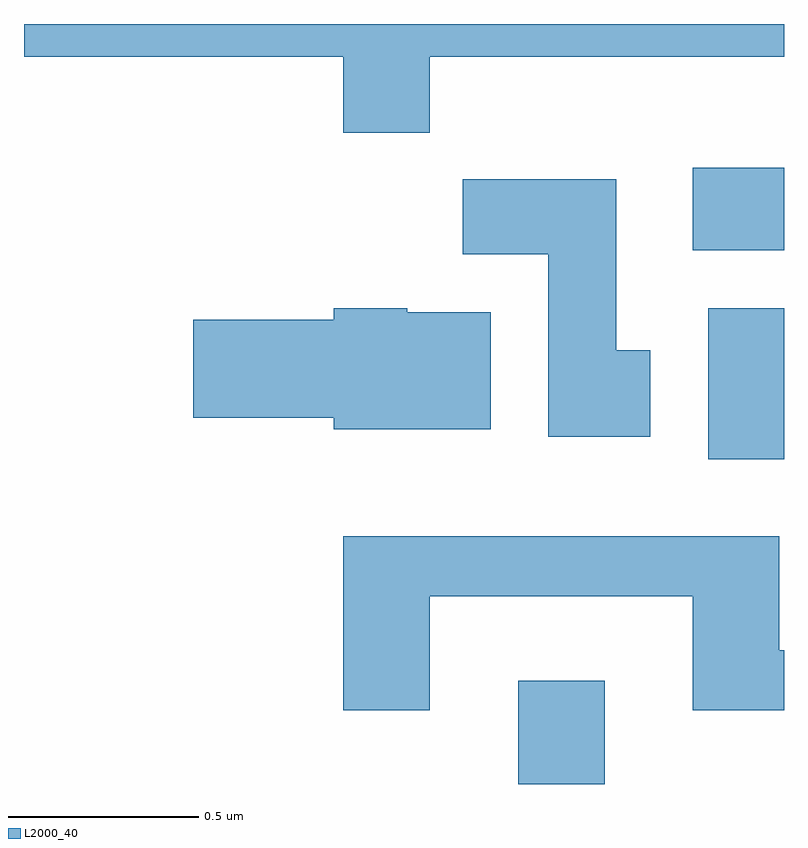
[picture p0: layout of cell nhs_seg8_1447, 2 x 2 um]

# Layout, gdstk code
import gdstk
lib = gdstk.Library(unit=1e-6, precision=1e-09)
def R(c, l, rs):  # rectangles x0, y0, x1, y1
    for r in rs: c.add(gdstk.rectangle(r[:2], r[2:], *l))
def P(c, l, *ps):  # polygons
    for p in ps: c.add(gdstk.Polygon(p, *l))
L2000_40 = (2000, 40)

nhs_seg8_1447 = lib.new_cell('nhs_seg8_1447')
R(nhs_seg8_1447, L2000_40, [(196.911,1883.342,197.139,1883.614), (197.411,1884.196,197.611,1884.594), (197.371,1884.746,197.611,1884.964)])
P(nhs_seg8_1447, L2000_40, [(196.679,1885.256),(197.611,1885.256),(197.611,1885.342),(195.611,1885.342),(195.611,1885.256),(196.451,1885.256),(196.451,1885.056),(196.679,1885.056)],
  [(197.259,1884.484),(197.169,1884.484),(197.169,1884.934),(196.766,1884.934),(196.766,1884.736),(196.991,1884.736),(196.991,1884.256),(197.259,1884.256)],
  [(196.839,1884.584),(196.62,1884.584),(196.62,1884.594),(196.426,1884.594),(196.426,1884.564),(196.056,1884.564),(196.056,1884.306),(196.426,1884.306),(196.426,1884.276),(196.839,1884.276)],
  [(196.679,1883.836),(197.371,1883.836),(197.371,1883.536),(197.611,1883.536),(197.611,1883.694),(197.599,1883.694),(197.599,1883.994),(196.451,1883.994),(196.451,1883.536),(196.679,1883.536)])

lib.write_gds('nhs_seg8_1447.gds')
